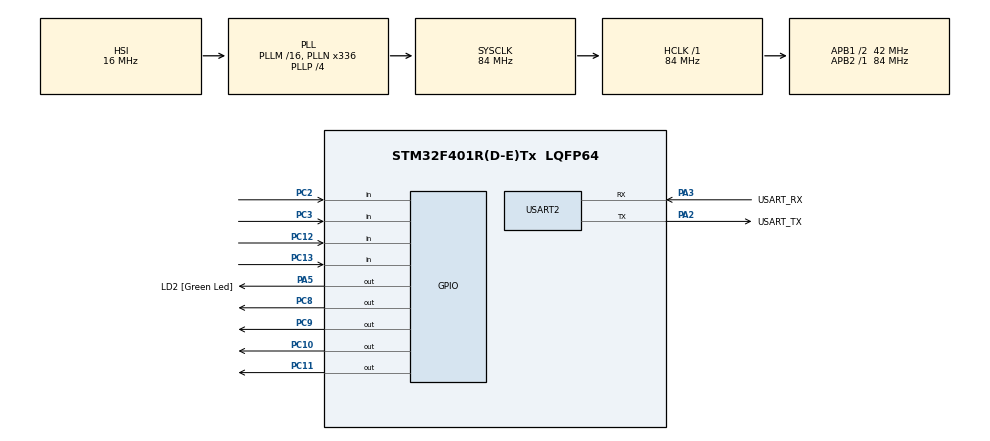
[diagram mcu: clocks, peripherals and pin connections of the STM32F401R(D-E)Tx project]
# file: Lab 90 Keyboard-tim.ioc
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Mcu.Family=STM32F4
Mcu.Name=STM32F401R(D-E)Tx
Mcu.Package=LQFP64
NVIC.PriorityGroup=NVIC_PRIORITYGROUP_0
NVIC.TIM3_IRQn=true\:0\:0\:false\:false\:true\:true\:true\:true
PA13.GPIO_Label=TMS
PA13.Mode=Serial_Wire
PA13.Signal=SYS_JTMS-SWDIO
PA14.GPIO_Label=TCK
PA14.Mode=Serial_Wire
PA14.Signal=SYS_JTCK-SWCLK
PA2.GPIO_Label=USART_TX
PA2.GPIO_Mode=GPIO_MODE_AF_PP
PA2.GPIO_PuPd=GPIO_NOPULL
PA2.GPIO_Speed=GPIO_SPEED_FREQ_LOW
PA2.Mode=Asynchronous
PA2.Signal=USART2_TX
PA3.GPIO_Label=USART_RX
PA3.GPIO_Mode=GPIO_MODE_AF_PP
PA3.GPIO_PuPd=GPIO_NOPULL
PA3.GPIO_Speed=GPIO_SPEED_FREQ_LOW
PA3.Mode=Asynchronous
PA3.Signal=USART2_RX
PA5.GPIO_Label=LD2 [Green Led]
PA5.GPIO_Mode=GPIO_MODE_OUTPUT_PP
PA5.GPIO_PuPd=GPIO_NOPULL
PA5.GPIO_Speed=GPIO_SPEED_FREQ_LOW
PA5.Signal=GPIO_Output
PB3.GPIO_Label=SWO
PB3.Signal=SYS_JTDO-SWO
PC10.Signal=GPIO_Output
PC11.Signal=GPIO_Output
PC12.Signal=GPIO_Input
PC13-ANTI_TAMP.Signal=GPIO_Input
PC14-OSC32_IN.Mode=LSE-External-Oscillator
PC14-OSC32_IN.Signal=RCC_OSC32_IN
PC15-OSC32_OUT.Mode=LSE-External-Oscillator
PC15-OSC32_OUT.Signal=RCC_OSC32_OUT
PC2.Signal=GPIO_Input
PC3.Signal=GPIO_Input
PC8.Signal=GPIO_Output
PC9.Signal=GPIO_Output
PH0\ -\ OSC_IN.Mode=HSE-External-Clock-Source
PH0\ -\ OSC_IN.Signal=RCC_OSC_IN
PH1\ -\ OSC_OUT.Mode=HSE-External-Clock-Source
PH1\ -\ OSC_OUT.Signal=RCC_OSC_OUT
ProjectManager.HeapSize=0x200
ProjectManager.StackSize=0x400
ProjectManager.TargetToolchain=STM32CubeIDE
RCC.48MHZClocksFreq_Value=48000000
RCC.AHBFreq_Value=84000000
RCC.APB1CLKDivider=RCC_HCLK_DIV2
RCC.APB1Freq_Value=42000000
RCC.APB1TimFreq_Value=84000000
RCC.APB2Freq_Value=84000000
RCC.APB2TimFreq_Value=84000000
RCC.CortexFreq_Value=84000000
RCC.HCLKFreq_Value=84000000
RCC.HSE_VALUE=8000000
RCC.HSI_VALUE=16000000
RCC.PLLN=336
RCC.PLLP=RCC_PLLP_DIV4
RCC.PLLQ=7
RCC.SYSCLKFreq_VALUE=84000000
RCC.SYSCLKSource=RCC_SYSCLKSOURCE_PLLCLK
RCC.VCOOutputFreq_Value=336000000
TIM3.Period=100-1
TIM3.Prescaler=8400-1
USART2.VirtualMode=VM_ASYNC
VP_TIM3_VS_ClockSourceINT.Mode=Internal
board=NUCLEO-F401RE

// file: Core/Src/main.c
/* USER CODE BEGIN Header */
/**
 ******************************************************************************
 * @file           : main.c
 * @brief          : Main program body
 ******************************************************************************
 * @attention
 *
 * Copyright (c) 2023 STMicroelectronics.
 * All rights reserved.
 *
 * This software is licensed under terms that can be found in the LICENSE file
 * in the root directory of this software component.
 * If no LICENSE file comes with this software, it is provided AS-IS.
 *
 ******************************************************************************
 */
/* USER CODE END Header */
#include "main.h"

/* USER CODE BEGIN Includes */
#include <stdio.h>
/* USER CODE END Includes */

/* USER CODE BEGIN PD */
#define N_COLS 4
#define N_ROWS 4
/* USER CODE END PD */

TIM_HandleTypeDef htim3;

UART_HandleTypeDef huart2;

/* USER CODE BEGIN PV */
//defined pins for output and input in order of correct activation
uint16_t k_input[] = { GPIO_PIN_3, GPIO_PIN_2, GPIO_PIN_13, GPIO_PIN_12 };
uint16_t k_output[] = { GPIO_PIN_8, GPIO_PIN_9, GPIO_PIN_10, GPIO_PIN_11 };

/* USER CODE END PV */

void SystemClock_Config(void);
static void MX_GPIO_Init(void);
static void MX_USART2_UART_Init(void);
static void MX_TIM3_Init(void);

/* USER CODE BEGIN 0 */
void HAL_TIM_PeriodElapsedCallback(TIM_HandleTypeDef *htim) {
	if (htim == &htim3) {
		static const char lett[16] = "CDEF89AB45670123"; //initialized letters array
		static char state[16] = { 0 }; //initialized states of buttons
		static int col = 0; //index for column
		char string[64];

		for (int i = 0; i < N_ROWS; i++) {
			int on = !HAL_GPIO_ReadPin(GPIOC, k_input[i]);

			if (on && state[col + i * N_ROWS] == 0) {

				int size = sprintf(string, "Pressed char: %c\r\n", lett[col + i * N_ROWS]);
				HAL_UART_Transmit(&huart2, string, size, 50);

				state[col + i * N_ROWS] = 1;

			} else if (!on && state[col + i * N_ROWS] == 1) {
				state[col + i * N_ROWS] = 0;
			}
		}

		HAL_GPIO_WritePin(GPIOC, k_output[col], 0);
		col = (col+1) % N_COLS;
		HAL_GPIO_WritePin(GPIOC, k_output[col], 1);

	}
}
/* USER CODE END 0 */

int main(void)
{

  /* MCU Configuration--------------------------------------------------------*/

  /* Reset of all peripherals, Initializes the Flash interface and the Systick. */
  HAL_Init();

  /* Configure the system clock */
  SystemClock_Config();

  /* Initialize all configured peripherals */
  MX_GPIO_Init();
  MX_USART2_UART_Init();
  MX_TIM3_Init();
  /* USER CODE BEGIN 2 */
	HAL_TIM_Base_Start_IT(&htim3);

  /* USER CODE END 2 */

  /* Infinite loop */
	while (1) {

	}
}

void SystemClock_Config(void)
{
  RCC_OscInitTypeDef RCC_OscInitStruct = {0};
  RCC_ClkInitTypeDef RCC_ClkInitStruct = {0};

  /** Configure the main internal regulator output voltage
  */
  __HAL_RCC_PWR_CLK_ENABLE();
  __HAL_PWR_VOLTAGESCALING_CONFIG(PWR_REGULATOR_VOLTAGE_SCALE2);

  /** Initializes the RCC Oscillators according to the specified parameters
  * in the RCC_OscInitTypeDef structure.
  */
  RCC_OscInitStruct.OscillatorType = RCC_OSCILLATORTYPE_HSI;
  RCC_OscInitStruct.HSIState = RCC_HSI_ON;
  RCC_OscInitStruct.HSICalibrationValue = RCC_HSICALIBRATION_DEFAULT;
  RCC_OscInitStruct.PLL.PLLState = RCC_PLL_ON;
  RCC_OscInitStruct.PLL.PLLSource = RCC_PLLSOURCE_HSI;
  RCC_OscInitStruct.PLL.PLLM = 16;
  RCC_OscInitStruct.PLL.PLLN = 336;
  RCC_OscInitStruct.PLL.PLLP = RCC_PLLP_DIV4;
  RCC_OscInitStruct.PLL.PLLQ = 7;
  if (HAL_RCC_OscConfig(&RCC_OscInitStruct) != HAL_OK)
  {
    Error_Handler();
  }

  /** Initializes the CPU, AHB and APB buses clocks
  */
  RCC_ClkInitStruct.ClockType = RCC_CLOCKTYPE_HCLK|RCC_CLOCKTYPE_SYSCLK
                              |RCC_CLOCKTYPE_PCLK1|RCC_CLOCKTYPE_PCLK2;
  RCC_ClkInitStruct.SYSCLKSource = RCC_SYSCLKSOURCE_PLLCLK;
  RCC_ClkInitStruct.AHBCLKDivider = RCC_SYSCLK_DIV1;
  RCC_ClkInitStruct.APB1CLKDivider = RCC_HCLK_DIV2;
  RCC_ClkInitStruct.APB2CLKDivider = RCC_HCLK_DIV1;

  if (HAL_RCC_ClockConfig(&RCC_ClkInitStruct, FLASH_LATENCY_2) != HAL_OK)
  {
    Error_Handler();
  }
}

static void MX_TIM3_Init(void)
{

  TIM_ClockConfigTypeDef sClockSourceConfig = {0};
  TIM_MasterConfigTypeDef sMasterConfig = {0};

  htim3.Instance = TIM3;
  htim3.Init.Prescaler = 8400-1;
  htim3.Init.CounterMode = TIM_COUNTERMODE_UP;
  htim3.Init.Period = 100-1;
  htim3.Init.ClockDivision = TIM_CLOCKDIVISION_DIV1;
  htim3.Init.AutoReloadPreload = TIM_AUTORELOAD_PRELOAD_DISABLE;
  if (HAL_TIM_Base_Init(&htim3) != HAL_OK)
  {
    Error_Handler();
  }
  sClockSourceConfig.ClockSource = TIM_CLOCKSOURCE_INTERNAL;
  if (HAL_TIM_ConfigClockSource(&htim3, &sClockSourceConfig) != HAL_OK)
  {
    Error_Handler();
  }
  sMasterConfig.MasterOutputTrigger = TIM_TRGO_RESET;
  sMasterConfig.MasterSlaveMode = TIM_MASTERSLAVEMODE_DISABLE;
  if (HAL_TIMEx_MasterConfigSynchronization(&htim3, &sMasterConfig) != HAL_OK)
  {
    Error_Handler();
  }

}

static void MX_USART2_UART_Init(void)
{

  huart2.Instance = USART2;
  huart2.Init.BaudRate = 115200;
  huart2.Init.WordLength = UART_WORDLENGTH_8B;
  huart2.Init.StopBits = UART_STOPBITS_1;
  huart2.Init.Parity = UART_PARITY_NONE;
  huart2.Init.Mode = UART_MODE_TX_RX;
  huart2.Init.HwFlowCtl = UART_HWCONTROL_NONE;
  huart2.Init.OverSampling = UART_OVERSAMPLING_16;
  if (HAL_UART_Init(&huart2) != HAL_OK)
  {
    Error_Handler();
  }

}

static void MX_GPIO_Init(void)
{
  GPIO_InitTypeDef GPIO_InitStruct = {0};

  /* GPIO Ports Clock Enable */
  __HAL_RCC_GPIOC_CLK_ENABLE();
  __HAL_RCC_GPIOH_CLK_ENABLE();
  __HAL_RCC_GPIOA_CLK_ENABLE();
  __HAL_RCC_GPIOB_CLK_ENABLE();

  /*Configure GPIO pin Output Level */
  HAL_GPIO_WritePin(LD2_GPIO_Port, LD2_Pin, GPIO_PIN_RESET);

  /*Configure GPIO pin Output Level */
  HAL_GPIO_WritePin(GPIOC, GPIO_PIN_8|GPIO_PIN_9|GPIO_PIN_10|GPIO_PIN_11, GPIO_PIN_RESET);

  /*Configure GPIO pins : PC13 PC2 PC3 PC12 */
  GPIO_InitStruct.Pin = GPIO_PIN_13|GPIO_PIN_2|GPIO_PIN_3|GPIO_PIN_12;
  GPIO_InitStruct.Mode = GPIO_MODE_INPUT;
  GPIO_InitStruct.Pull = GPIO_NOPULL;
  HAL_GPIO_Init(GPIOC, &GPIO_InitStruct);

  /*Configure GPIO pin : LD2_Pin */
  GPIO_InitStruct.Pin = LD2_Pin;
  GPIO_InitStruct.Mode = GPIO_MODE_OUTPUT_PP;
  GPIO_InitStruct.Pull = GPIO_NOPULL;
  GPIO_InitStruct.Speed = GPIO_SPEED_FREQ_LOW;
  HAL_GPIO_Init(LD2_GPIO_Port, &GPIO_InitStruct);

  /*Configure GPIO pins : PC8 PC9 PC10 PC11 */
  GPIO_InitStruct.Pin = GPIO_PIN_8|GPIO_PIN_9|GPIO_PIN_10|GPIO_PIN_11;
  GPIO_InitStruct.Mode = GPIO_MODE_OUTPUT_PP;
  GPIO_InitStruct.Pull = GPIO_NOPULL;
  GPIO_InitStruct.Speed = GPIO_SPEED_FREQ_LOW;
  HAL_GPIO_Init(GPIOC, &GPIO_InitStruct);

}

void Error_Handler(void)
{
	__disable_irq();
	while (1) {
	}
}
